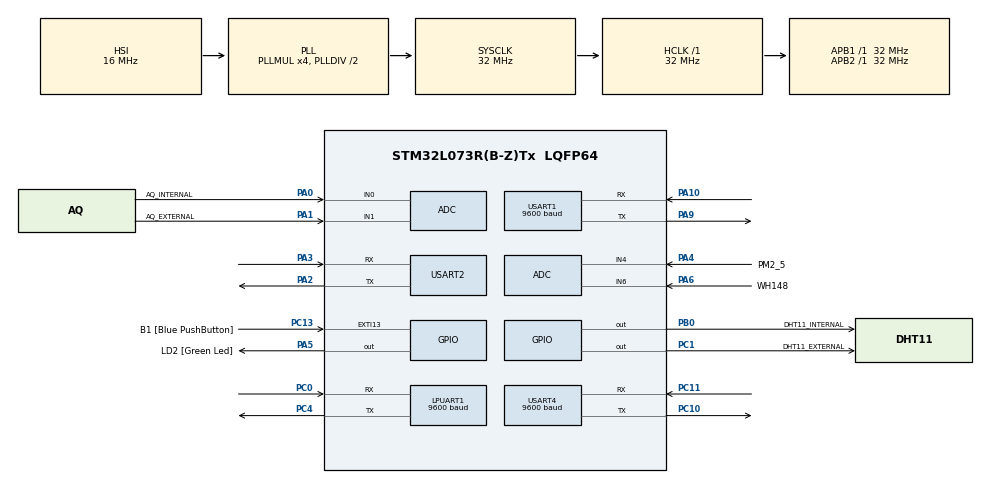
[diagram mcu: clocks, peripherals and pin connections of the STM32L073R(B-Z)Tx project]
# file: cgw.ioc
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ADC.SamplingTime=ADC_SAMPLETIME_160CYCLES_5
Dma.Request0=USART1_RX
Dma.Request1=USART4_RX
Dma.USART1_RX.0.Direction=DMA_PERIPH_TO_MEMORY
Dma.USART1_RX.0.Instance=DMA1_Channel3
Dma.USART1_RX.0.MemDataAlignment=DMA_MDATAALIGN_BYTE
Dma.USART1_RX.0.MemInc=DMA_MINC_ENABLE
Dma.USART1_RX.0.Mode=DMA_NORMAL
Dma.USART1_RX.0.PeriphDataAlignment=DMA_PDATAALIGN_BYTE
Dma.USART1_RX.0.PeriphInc=DMA_PINC_DISABLE
Dma.USART1_RX.0.Priority=DMA_PRIORITY_LOW
Dma.USART4_RX.1.Direction=DMA_PERIPH_TO_MEMORY
Dma.USART4_RX.1.Instance=DMA1_Channel2
Dma.USART4_RX.1.MemDataAlignment=DMA_MDATAALIGN_BYTE
Dma.USART4_RX.1.MemInc=DMA_MINC_ENABLE
Dma.USART4_RX.1.Mode=DMA_NORMAL
Dma.USART4_RX.1.PeriphDataAlignment=DMA_PDATAALIGN_BYTE
Dma.USART4_RX.1.PeriphInc=DMA_PINC_DISABLE
Dma.USART4_RX.1.Priority=DMA_PRIORITY_LOW
FREERTOS.Tasks01=SensorReadTask,24,128,StartSensorReadTask,Default,NULL,Dynamic,NULL,NULL;DataHandlerTask,24,128,StartDataHandlerTask,Default,NULL,Dynamic,NULL,NULL
FREERTOS.configCHECK_FOR_STACK_OVERFLOW=2
FREERTOS.configGENERATE_RUN_TIME_STATS=1
FREERTOS.configUSE_NEWLIB_REENTRANT=1
LPUART1.BaudRate=9600
LPUART1.WordLength=UART_WORDLENGTH_8B
Mcu.Family=STM32L0
Mcu.Name=STM32L073R(B-Z)Tx
Mcu.Package=LQFP64
NVIC.DMA1_Channel2_3_IRQn=true\:3\:0\:false\:false\:true\:true\:false\:true\:true
NVIC.TIM7_IRQn=true\:3\:0\:false\:false\:true\:false\:false\:true\:true
NVIC.TimeBase=TIM7_IRQn
NVIC.TimeBaseIP=TIM7
NVIC.USART1_IRQn=true\:3\:0\:false\:false\:true\:true\:true\:true\:true
NVIC.USART2_IRQn=true\:3\:0\:false\:false\:true\:true\:true\:true\:true
NVIC.USART4_5_IRQn=true\:3\:0\:false\:false\:true\:true\:true\:true\:true
PA0.GPIO_Label=AQ_INTERNAL
PA0.Mode=IN0
PA0.Signal=ADC_IN0
PA1.GPIO_Label=AQ_EXTERNAL
PA1.Mode=IN1
PA1.Signal=ADC_IN1
PA10.Mode=Asynchronous
PA10.Signal=USART1_RX
PA13.GPIO_Label=TMS
PA13.Mode=Serial_Wire
PA13.Signal=SYS_SWDIO
PA14.GPIO_Label=TCK
PA14.Mode=Serial_Wire
PA14.Signal=SYS_SWCLK
PA2.Mode=Asynchronous
PA2.Signal=USART2_TX
PA3.Mode=Asynchronous
PA3.Signal=USART2_RX
PA4.GPIO_Label=PM2_5
PA4.Mode=IN4
PA4.Signal=ADC_IN4
PA5.GPIO_Label=LD2 [Green Led]
PA5.Signal=GPIO_Output
PA6.GPIO_Label=WH148
PA6.Mode=IN6
PA6.Signal=ADC_IN6
PA9.Mode=Asynchronous
PA9.Signal=USART1_TX
PB0.GPIO_Label=DHT11_INTERNAL
PB0.Signal=GPIO_Output
PC0.Mode=Asynchronous
PC0.Signal=LPUART1_RX
PC1.GPIO_Label=DHT11_EXTERNAL
PC1.Signal=GPIO_Output
PC10.Mode=Asynchronous
PC10.Signal=USART4_TX
PC11.Mode=Asynchronous
PC11.Signal=USART4_RX
PC13.GPIO_Label=B1 [Blue PushButton]
PC13.GPIO_ModeDefaultEXTI=GPIO_MODE_IT_FALLING
PC13.Signal=GPXTI13
PC14-OSC32_IN.Mode=LSE-External-Oscillator
PC14-OSC32_IN.Signal=RCC_OSC32_IN
PC15-OSC32_OUT.Mode=LSE-External-Oscillator
PC15-OSC32_OUT.Signal=RCC_OSC32_OUT
PC4.Mode=Asynchronous
PC4.Signal=LPUART1_TX
PH0-OSC_IN.GPIO_Label=MCO
PH0-OSC_IN.Mode=HSE-External-Clock-Source
PH0-OSC_IN.Signal=RCC_OSC_IN
ProjectManager.HeapSize=0x200
ProjectManager.StackSize=0x400
ProjectManager.TargetToolchain=STM32CubeIDE
RCC.AHBFreq_Value=32000000
RCC.APB1Freq_Value=32000000
RCC.APB1TimFreq_Value=32000000
RCC.APB2Freq_Value=32000000
RCC.APB2TimFreq_Value=32000000
RCC.HCLKFreq_Value=32000000
RCC.HSE_VALUE=8000000
RCC.HSI16_VALUE=16000000
RCC.HSI48_VALUE=48000000
RCC.HSI_VALUE=16000000
RCC.MSI_VALUE=2097000
RCC.PLLMUL=RCC_PLLMUL_4
RCC.SYSCLKFreq_VALUE=32000000
RCC.SYSCLKSource=RCC_SYSCLKSOURCE_PLLCLK
RCC.VCOOutputFreq_Value=64000000
TIM6.Prescaler=32 - 1
USART1.BaudRate=9600
USART1.VirtualMode-Asynchronous=VM_ASYNC
USART2.VirtualMode-Asynchronous=VM_ASYNC
USART4.BaudRate=9600
USART4.VirtualMode-Asynchronous=VM_ASYNC
VP_FREERTOS_VS_CMSIS_V2.Mode=CMSIS_V2
VP_SYS_VS_tim7.Mode=TIM7
VP_TIM6_VS_ClockSourceINT.Mode=Enable_Timer
board=NUCLEO-L073RZ

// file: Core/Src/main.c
/* USER CODE BEGIN Header */
/**
  ******************************************************************************
  * @file           : main.c
  * @brief          : Main program body
  ******************************************************************************
  * @attention
  *
  * Copyright (c) 2025 STMicroelectronics.
  * All rights reserved.
  *
  * This software is licensed under terms that can be found in the LICENSE file
  * in the root directory of this software component.
  * If no LICENSE file comes with this software, it is provided AS-IS.
  *
  ******************************************************************************
  */
/* USER CODE END Header */
#include "main.h"
#include "cmsis_os.h"
#include "adc.h"
#include "dma.h"
#include "usart.h"
#include "tim.h"
#include "gpio.h"

void SystemClock_Config(void);
void MX_FREERTOS_Init(void);

int main(void)
{

  /* MCU Configuration--------------------------------------------------------*/

  /* Reset of all peripherals, Initializes the Flash interface and the Systick. */
  HAL_Init();

  /* Configure the system clock */
  SystemClock_Config();

  /* Initialize all configured peripherals */
  MX_GPIO_Init();
  MX_DMA_Init();
  MX_ADC_Init();
  MX_USART1_UART_Init();
  MX_USART4_UART_Init();
  MX_TIM6_Init();
  MX_USART2_UART_Init();
  MX_LPUART1_UART_Init();

  /* Init scheduler */
  osKernelInitialize();

  /* Call init function for freertos objects (in cmsis_os2.c) */
  MX_FREERTOS_Init();

  /* Start scheduler */
  osKernelStart();

  /* We should never get here as control is now taken by the scheduler */

  /* Infinite loop */
  while (1)
  {

  }
}

void SystemClock_Config(void)
{
  RCC_OscInitTypeDef RCC_OscInitStruct = {0};
  RCC_ClkInitTypeDef RCC_ClkInitStruct = {0};
  RCC_PeriphCLKInitTypeDef PeriphClkInit = {0};

  /** Configure the main internal regulator output voltage
  */
  __HAL_PWR_VOLTAGESCALING_CONFIG(PWR_REGULATOR_VOLTAGE_SCALE1);

  /** Initializes the RCC Oscillators according to the specified parameters
  * in the RCC_OscInitTypeDef structure.
  */
  RCC_OscInitStruct.OscillatorType = RCC_OSCILLATORTYPE_HSI;
  RCC_OscInitStruct.HSIState = RCC_HSI_ON;
  RCC_OscInitStruct.HSICalibrationValue = RCC_HSICALIBRATION_DEFAULT;
  RCC_OscInitStruct.PLL.PLLState = RCC_PLL_ON;
  RCC_OscInitStruct.PLL.PLLSource = RCC_PLLSOURCE_HSI;
  RCC_OscInitStruct.PLL.PLLMUL = RCC_PLLMUL_4;
  RCC_OscInitStruct.PLL.PLLDIV = RCC_PLLDIV_2;
  if (HAL_RCC_OscConfig(&RCC_OscInitStruct) != HAL_OK)
  {
    Error_Handler();
  }

  /** Initializes the CPU, AHB and APB buses clocks
  */
  RCC_ClkInitStruct.ClockType = RCC_CLOCKTYPE_HCLK|RCC_CLOCKTYPE_SYSCLK
                              |RCC_CLOCKTYPE_PCLK1|RCC_CLOCKTYPE_PCLK2;
  RCC_ClkInitStruct.SYSCLKSource = RCC_SYSCLKSOURCE_PLLCLK;
  RCC_ClkInitStruct.AHBCLKDivider = RCC_SYSCLK_DIV1;
  RCC_ClkInitStruct.APB1CLKDivider = RCC_HCLK_DIV1;
  RCC_ClkInitStruct.APB2CLKDivider = RCC_HCLK_DIV1;

  if (HAL_RCC_ClockConfig(&RCC_ClkInitStruct, FLASH_LATENCY_1) != HAL_OK)
  {
    Error_Handler();
  }
  PeriphClkInit.PeriphClockSelection = RCC_PERIPHCLK_USART1|RCC_PERIPHCLK_USART2
                              |RCC_PERIPHCLK_LPUART1;
  PeriphClkInit.Usart1ClockSelection = RCC_USART1CLKSOURCE_PCLK2;
  PeriphClkInit.Usart2ClockSelection = RCC_USART2CLKSOURCE_PCLK1;
  PeriphClkInit.Lpuart1ClockSelection = RCC_LPUART1CLKSOURCE_PCLK1;
  if (HAL_RCCEx_PeriphCLKConfig(&PeriphClkInit) != HAL_OK)
  {
    Error_Handler();
  }
}

void HAL_TIM_PeriodElapsedCallback(TIM_HandleTypeDef *htim)
{
  if (htim->Instance == TIM7) {
    HAL_IncTick();
  }
}

void Error_Handler(void)
{
  __disable_irq();
  while (1)
  {
  }
}

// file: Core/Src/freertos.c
/* USER CODE BEGIN Header */
/**
  ******************************************************************************
  * File Name          : freertos.c
  * Description        : Code for freertos applications
  ******************************************************************************
  * @attention
  *
  * Copyright (c) 2025 STMicroelectronics.
  * All rights reserved.
  *
  * This software is licensed under terms that can be found in the LICENSE file
  * in the root directory of this software component.
  * If no LICENSE file comes with this software, it is provided AS-IS.
  *
  ******************************************************************************
  */
/* USER CODE END Header */

#include "FreeRTOS.h"
#include "task.h"
#include "main.h"
#include "cmsis_os.h"

/* USER CODE BEGIN Includes */
#include "car_device_control.h"
#include "event_groups.h"
#include "sunroof_control.h"
#include "transparency.h"
#include "uart_cgw_rpi.h"
#include "usart.h"
#include "wh148.h"
/* USER CODE END Includes */

/* USER CODE BEGIN PD */
#define CGW_DATA_READY_EVENT (1 << 0)
#define SUN_DATA_READY_EVENT (1 << 1)
#define USER_DATA_READY_EVENT (1 << 2)
#define SENSOR_DATA_READY_EVENT (CGW_DATA_READY_EVENT | SUN_DATA_READY_EVENT)
#define ANY_DATA_READY_EVENT (SENSOR_DATA_READY_EVENT | USER_DATA_READY_EVENT)
/* USER CODE END PD */

/* USER CODE BEGIN Variables */
// CGW-SUN
static uint8_t rx_buf[4];

// CGW-RPI
static uint8_t rx_data[5];
// static ThresholdData_from_rpi_t thresholdData;

static sunroof_t sunroof;
static EventGroupHandle_t xSensorEventGroup;
/* USER CODE END Variables */
/* Definitions for SensorReadTask */
osThreadId_t SensorReadTaskHandle;
const osThreadAttr_t SensorReadTask_attributes = {
  .name = "SensorReadTask",
  .stack_size = 128 * 4,
  .priority = (osPriority_t) osPriorityNormal,
};
/* Definitions for DataHandlerTask */
osThreadId_t DataHandlerTaskHandle;
const osThreadAttr_t DataHandlerTask_attributes = {
  .name = "DataHandlerTask",
  .stack_size = 128 * 4,
  .priority = (osPriority_t) osPriorityNormal,
};

void StartSensorReadTask(void *argument);
void StartDataHandlerTask(void *argument);

void MX_FREERTOS_Init(void); /* (MISRA C 2004 rule 8.1) */

/* Hook prototypes */
void configureTimerForRunTimeStats(void);
unsigned long getRunTimeCounterValue(void);
void vApplicationStackOverflowHook(xTaskHandle xTask, signed char *pcTaskName);

/* USER CODE BEGIN 1 */
/* Functions needed when configGENERATE_RUN_TIME_STATS is on */
__weak void configureTimerForRunTimeStats(void)
{

}

__weak unsigned long getRunTimeCounterValue(void)
{
return 0;
}
/* USER CODE END 1 */

/* USER CODE BEGIN 4 */
void vApplicationStackOverflowHook(xTaskHandle xTask, signed char *pcTaskName)
{
   /* Run time stack overflow checking is performed if
   configCHECK_FOR_STACK_OVERFLOW is defined to 1 or 2. This hook function is
   called if a stack overflow is detected. */
}

static void Receive_Sensor_Data_SUN_to_CGW(uint8_t *rx_buffer)
{
  sensor_data_t *data = &sunroof.data;
  system_state_t *state = &sunroof.state;
  uint32_t payload = (rx_buffer[0] << 24) | (rx_buffer[1] << 16) | (rx_buffer[2] << 8) | rx_buffer[3];

  // data->illum[IN] = (payload >> 20) & 0x0FFF;
  // data->illum[OUT] = (payload >> 8) & 0x0FFF;
  data->illum = (payload >> 8) & 0x0FFF;
  data->rain = (payload >> 7) & 0x01;
  state->roof = (payload >> 5) & 0x03;
  // state->transparency = (payload) & 0x1F;

#if (DEBUG_LEVEL > 0)
  char msg[64];
  sprintf(msg,
          "In: %u, Out: %u, Rain: %u \r\n",
          in_illum,
          out_illum,
          rain_flag);
  printf("%s\r\n", msg);
#endif
}

static void Send_Sunroof_Command_CGW_to_SUN(system_state_t *state)
{
  static uint8_t tx_data_uart1[2];

  tx_data_uart1[0] = state->roof + '0';
  tx_data_uart1[1] = state->transparency / 5;
  HAL_UART_Transmit(&huart1, tx_data_uart1, sizeof(tx_data_uart1), HAL_MAX_DELAY);
#if (DEBUG_LEVEL > 0)
  printf("Send command %s \r\n", tx_data);
#endif
}

static void Send_Sunroof_CGW_to_ESP()
{
  static uint8_t tx_data_lpuart1[7];

  dht11_data_t *dht11 = sunroof.data.dht;
  system_state_t *state = &sunroof.state;
  air_dust_level_t *air_dust_state = &sunroof.air_dust_level;

  tx_data_lpuart1[0] = 0xAA; // 패킷 시작 식별자
  tx_data_lpuart1[1] = state->mode
                      | (state->roof << 1)
                      | (state->airconditioner << 3);
  tx_data_lpuart1[2] = dht11[IN].temp;
  tx_data_lpuart1[3] = dht11[IN].rh;
  tx_data_lpuart1[4] = dht11[OUT].temp;
  tx_data_lpuart1[5] = dht11[OUT].rh;
  tx_data_lpuart1[6] = air_dust_state->internal_air_quality_state
                      | (air_dust_state->external_air_quality_state << 2)
                      | (air_dust_state->dust_state << 4);

  HAL_UART_Transmit(&hlpuart1, tx_data_lpuart1, sizeof(tx_data_lpuart1), HAL_MAX_DELAY);
}
/* USER CODE END 4 */

void MX_FREERTOS_Init(void) {
  /* USER CODE BEGIN Init */
  sunroof.state.mode = MODE_SMART;
  HAL_UART_Receive_DMA(&huart1, rx_buf, sizeof(rx_buf));
  HAL_UART_Receive_DMA(&huart4, rx_data, sizeof(rx_data));
  /* USER CODE END Init */

  /* Create the thread(s) */
  /* creation of SensorReadTask */
  SensorReadTaskHandle = osThreadNew(StartSensorReadTask, NULL, &SensorReadTask_attributes);

  /* creation of DataHandlerTask */
  DataHandlerTaskHandle = osThreadNew(StartDataHandlerTask, NULL, &DataHandlerTask_attributes);

  /* USER CODE BEGIN RTOS_EVENTS */
  /* add events, ... */
  xSensorEventGroup = xEventGroupCreate();
  /* USER CODE END RTOS_EVENTS */

}

void StartSensorReadTask(void *argument)
{
  /* USER CODE BEGIN StartSensorReadTask */
  const uint8_t tx_request[2] = {0xFF, 0xFF};

  sensor_data_t *data = &sunroof.data;

  dht11_sensor_t dht_sensors[2];
  mq135_sensor_t aq_sensors[2];
  sharp_dust_sensor_t dust_sensor;

  DHT_Init(dht_sensors);
  AQ_Init(aq_sensors);
  PM_Init(&dust_sensor);

  /* Infinite loop */
  for(;;)
  {
    __disable_irq();
    DHT_Read(dht_sensors, data->dht);
    AQ_Read(aq_sensors, data->aq);
    PM_Read(&dust_sensor, &data->pm);
    POT_Read(&data->velocity);
    __enable_irq();

    xEventGroupSetBits(xSensorEventGroup, CGW_DATA_READY_EVENT);

    // SUN에 나한테 데이터 보내라고 요청
    HAL_UART_Transmit(&huart1, tx_request, sizeof(tx_request), HAL_MAX_DELAY);

    osDelay(10000);
  }
  /* USER CODE END StartSensorReadTask */
}

void StartDataHandlerTask(void *argument)
{
  /* USER CODE BEGIN StartDataHandlerTask */
  sensor_data_t *data = &sunroof.data;
  system_state_t *state = &sunroof.state;
  air_dust_level_t *air_dust_level = &sunroof.air_dust_level;

  EventBits_t uxBits;

  /* Infinite loop */
  for(;;)
  {
    // 이벤트 대기
    uxBits = xEventGroupWaitBits(xSensorEventGroup,
                                 ANY_DATA_READY_EVENT,
                                 pdFALSE, // xClearOnExit: 비트 자동 클리어 설정
                                 pdFALSE, // xWaitForAllBits: 모든 비트 필요 여부
                                 portMAX_DELAY);
    if (uxBits == CGW_DATA_READY_EVENT || uxBits == SUN_DATA_READY_EVENT)
    {
      continue;
    }

    if (uxBits & SENSOR_DATA_READY_EVENT)
    {
      osDelay(100);
      send_sensor_data(data->dht, air_dust_level);

      if (state->mode == MODE_SMART)
      {
        state->roof = Smart_Sunroof_Control(&sunroof);
        state->transparency = calculate_transparency(data->illum);
        state->airconditioner = smart_device_command(data->dht, threshold_input.temp_threshold);

        osDelay(100);
        send_device_state(&sunroof);
      }
    }

    if (uxBits & USER_DATA_READY_EVENT)
    {
      // User_Sunroof_Control();
      // user_device_command();
    }

    osDelay(100);
    Send_Sunroof_Command_CGW_to_SUN(state);
    osDelay(100);
    Send_Sunroof_CGW_to_ESP();
    osDelay(100);
    xEventGroupClearBits(xSensorEventGroup, ANY_DATA_READY_EVENT);
  }
  /* USER CODE END StartDataHandlerTask */
}

/* USER CODE BEGIN Application */
void HAL_UART_RxCpltCallback(UART_HandleTypeDef *huart)
{
  system_state_t *state = &sunroof.state;

  if (huart->Instance == USART1)
  {
    Receive_Sensor_Data_SUN_to_CGW(rx_buf);
    xEventGroupSetBits(xSensorEventGroup, SUN_DATA_READY_EVENT);

    HAL_UART_Receive_DMA(&huart1, rx_buf, sizeof(rx_buf));
  }
  else if (huart->Instance == USART4)
  {
#if (DEBUG_LEVEL > 0)
    uint8_t debug_msg[5];
    HAL_GPIO_TogglePin(GPIOA, GPIO_PIN_5);
    sprintf((char *)debug_msg,
            "%d %d %d %d %d\r\n",
            rx_data[0],
            rx_data[1],
            rx_data[2],
            rx_data[3],
            rx_data[4]);
    printf("identifier: %d\r\n", rx_data[0]);
#endif
    int identifier = rx_data[0];

    switch (identifier)
    {
    case THRES_IDENTIFIER:
      threshold_input.temp_threshold = rx_data[1];
      // thresholdData.air_quality_threshold = rx_data[2];
      // thresholdData.dust_threshold = rx_data[3];
      threshold_input.light_threshold = rx_data[4];
      break;
    case CONTROL_IDENTIFIER:
      state->roof = rx_data[1];
      state->transparency = rx_data[2];
      state->airconditioner = rx_data[3];
      state->mode = RECEIVED_MASK & rx_data[4]; // 사용자 모드이면 안보내기
#if (DEBUG_LEVEL > 0)
      printf("received : %d\r\n", controlData.mode);
#endif
      break;
    default:
#if (DEBUG_LEVEL > 0)
      // 에러 처리: 잘못된 식별자
      const char *err_msg = "ERR: Invalid identifier\r\n";
      HAL_UART_Transmit(&huart2,
                        (uint8_t *)err_msg,
                        strlen(err_msg),
                        100);
      // 예시: 에러 LED 점등 (e.g., GPIOA Pin 5)
      HAL_GPIO_WritePin(GPIOA, GPIO_PIN_5, GPIO_PIN_SET);
#endif
      // 필요 시: 에러 카운트 증가, 무시, 로그 저장 등
      break;
    }

#if (DEBUG_LEVEL > 0)
    // 받은 데이터를 다시 전송 (Echo)
    HAL_UART_Transmit(&huart2, debug_msg, strlen((char *)debug_msg), 100);
#endif
    xEventGroupSetBits(xSensorEventGroup, USER_DATA_READY_EVENT);

    // 다시 수신 대기 (인터럽트 재등록)
    HAL_UART_Receive_DMA(&huart4, rx_data, sizeof(rx_data));
  }
}

void HAL_UART_TxCpltCallback(UART_HandleTypeDef *huart)
{

}
/* USER CODE END Application */
